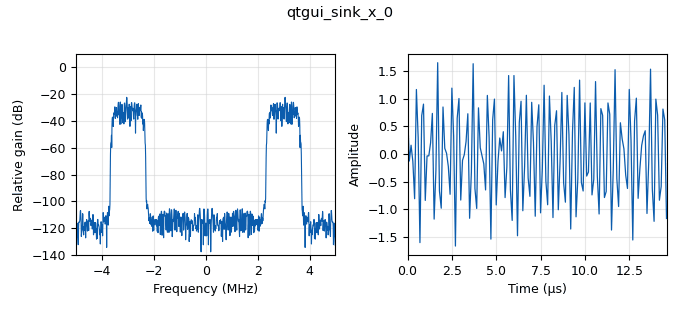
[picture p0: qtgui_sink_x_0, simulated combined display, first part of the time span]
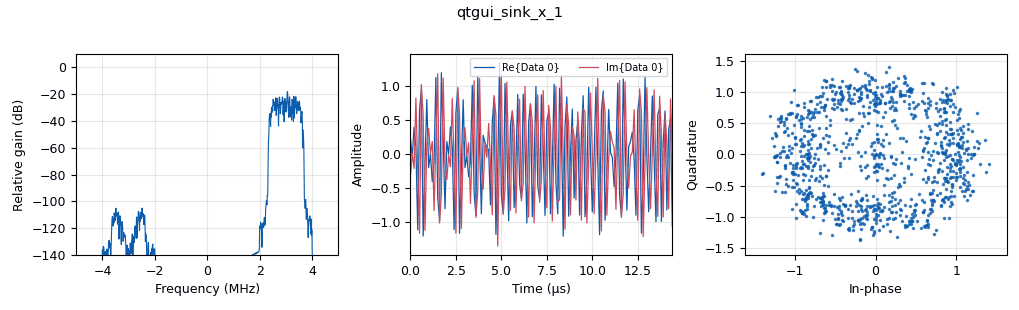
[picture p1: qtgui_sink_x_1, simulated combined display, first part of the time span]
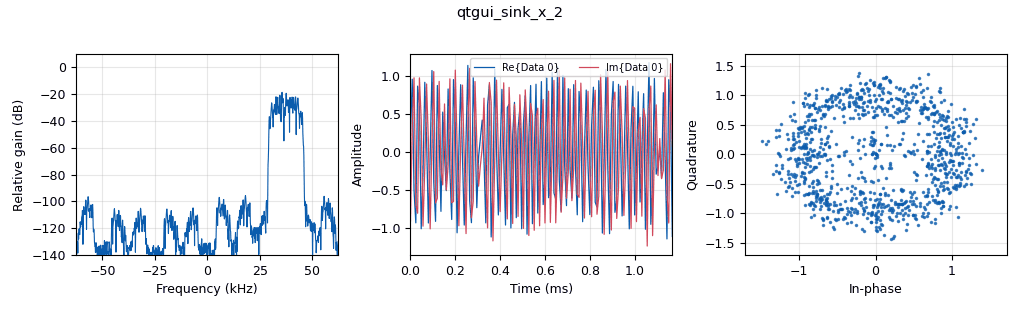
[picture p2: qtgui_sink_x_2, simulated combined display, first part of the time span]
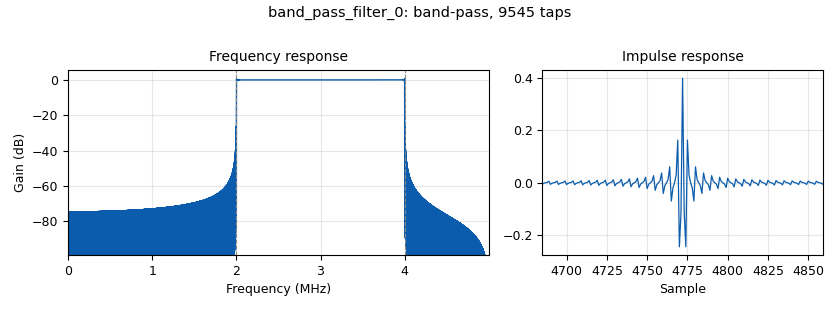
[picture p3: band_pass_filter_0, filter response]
<?xml version='1.0' encoding='utf-8'?>
<?grc format='1' created='3.7.12'?>
<flow_graph>
<block>
<key>options</key>
<param><key>id</key><value>top_block</value></param>
<param><key>generate_options</key><value>qt_gui</value></param>
</block>
<block>
<key>variable</key>
<param><key>id</key><value>samp_rate</value></param>
<param><key>value</key><value>int(125E3)</value></param>
</block>
<block>
<key>variable_constellation</key>
<param><key>id</key><value>variable_constellation_0</value></param>
<param><key>type</key><value>qpsk</value></param>
<param><key>precision</key><value>8</value></param>
</block>
<block>
<key>analog_noise_source_x</key>
<param><key>id</key><value>analog_noise_source_x_0</value></param>
<param><key>amp</key><value>0</value></param>
<param><key>noise_type</key><value>analog.GR_GAUSSIAN</value></param>
<param><key>type</key><value>complex</value></param>
<param><key>seed</key><value>0</value></param>
</block>
<block>
<key>analog_random_source_x</key>
<param><key>id</key><value>analog_random_source_x_0</value></param>
<param><key>max</key><value>256</value></param>
<param><key>min</key><value>0</value></param>
<param><key>num_samps</key><value>1000</value></param>
<param><key>type</key><value>byte</value></param>
<param><key>repeat</key><value>True</value></param>
</block>
<block>
<key>analog_sig_source_x</key>
<param><key>id</key><value>analog_sig_source_x_0</value></param>
<param><key>amp</key><value>1</value></param>
<param><key>freq</key><value>3E6</value></param>
<param><key>offset</key><value>0</value></param>
<param><key>type</key><value>complex</value></param>
<param><key>samp_rate</key><value>10E6</value></param>
<param><key>waveform</key><value>analog.GR_COS_WAVE</value></param>
</block>
<block>
<key>band_pass_filter</key>
<param><key>id</key><value>band_pass_filter_0</value></param>
<param><key>decim</key><value>1</value></param>
<param><key>type</key><value>fir_filter_ccf</value></param>
<param><key>gain</key><value>1</value></param>
<param><key>high_cutoff_freq</key><value>4E6</value></param>
<param><key>low_cutoff_freq</key><value>2E6</value></param>
<param><key>samp_rate</key><value>10E6</value></param>
<param><key>width</key><value>1E3</value></param>
<param><key>win</key><value>firdes.WIN_RECTANGULAR</value></param>
</block>
<block>
<key>blocks_add_xx</key>
<param><key>id</key><value>blocks_add_xx_0</value></param>
<param><key>type</key><value>complex</value></param>
</block>
<block>
<key>blocks_complex_to_real</key>
<param><key>id</key><value>blocks_complex_to_real_0</value></param>
</block>
<block>
<key>blocks_file_sink</key>
<param><key>id</key><value>blocks_file_sink_0</value></param>
<param><key>file</key><value>/home/wsrg/verilog/research-ayush/matlab/MU_Detection/single_file.dat</value></param>
<param><key>type</key><value>float</value></param>
</block>
<block>
<key>blocks_head</key>
<param><key>id</key><value>blocks_head_0</value></param>
<param><key>num_items</key><value>int(1E6)</value></param>
<param><key>type</key><value>float</value></param>
</block>
<block>
<key>blocks_multiply_xx</key>
<param><key>id</key><value>blocks_multiply_xx_0</value></param>
<param><key>type</key><value>complex</value></param>
</block>
<block>
<key>blocks_skiphead</key>
<param><key>id</key><value>blocks_skiphead_0</value></param>
<param><key>num_items</key><value>1024</value></param>
<param><key>type</key><value>float</value></param>
</block>
<block>
<key>blocks_throttle</key>
<param><key>id</key><value>blocks_throttle_0</value></param>
<param><key>samples_per_second</key><value>samp_rate</value></param>
<param><key>type</key><value>byte</value></param>
</block>
<block>
<key>channels_fading_model</key>
<param><key>id</key><value>channels_fading_model_0</value></param>
<param><key>LOS</key><value>False</value></param>
<param><key>fDTs</key><value>10.0/samp_rate</value></param>
<param><key>N</key><value>8</value></param>
<param><key>seed</key><value>0</value></param>
</block>
<block>
<key>digital_constellation_modulator</key>
<param><key>id</key><value>digital_constellation_modulator_0</value></param>
<param><key>constellation</key><value>variable_constellation_0</value></param>
<param><key>differential</key><value>False</value></param>
<param><key>excess_bw</key><value>0.35</value></param>
<param><key>samples_per_symbol</key><value>10</value></param>
</block>
<block>
<key>qtgui_sink_x</key>
<param><key>id</key><value>qtgui_sink_x_0</value></param>
<param><key>bw</key><value>10E6</value></param>
<param><key>fc</key><value>0</value></param>
<param><key>freqchangevar</key><value>None</value></param>
<param><key>fftsize</key><value>1024</value></param>
<param><key>showports</key><value>True</value></param>
<param><key>type</key><value>float</value></param>
<param><key>wintype</key><value>firdes.WIN_BLACKMAN_hARRIS</value></param>
</block>
<block>
<key>qtgui_sink_x</key>
<param><key>id</key><value>qtgui_sink_x_1</value></param>
<param><key>bw</key><value>10e6</value></param>
<param><key>fc</key><value>0</value></param>
<param><key>freqchangevar</key><value>None</value></param>
<param><key>fftsize</key><value>1024</value></param>
<param><key>showports</key><value>True</value></param>
<param><key>type</key><value>complex</value></param>
<param><key>wintype</key><value>firdes.WIN_BLACKMAN_hARRIS</value></param>
</block>
<block>
<key>qtgui_sink_x</key>
<param><key>id</key><value>qtgui_sink_x_2</value></param>
<param><key>bw</key><value>samp_rate</value></param>
<param><key>fc</key><value>0</value></param>
<param><key>freqchangevar</key><value>None</value></param>
<param><key>fftsize</key><value>1024</value></param>
<param><key>showports</key><value>True</value></param>
<param><key>type</key><value>complex</value></param>
<param><key>wintype</key><value>firdes.WIN_BLACKMAN_hARRIS</value></param>
</block>
<block>
<key>root_raised_cosine_filter</key>
<param><key>id</key><value>root_raised_cosine_filter_0</value></param>
<param><key>alpha</key><value>0.35</value></param>
<param><key>decim</key><value>1</value></param>
<param><key>type</key><value>fir_filter_ccf</value></param>
<param><key>gain</key><value>1</value></param>
<param><key>ntaps</key><value>11*2</value></param>
<param><key>samp_rate</key><value>1</value></param>
<param><key>sym_rate</key><value>10</value></param>
</block>
<connection><source_block_id>analog_noise_source_x_0</source_block_id><sink_block_id>blocks_add_xx_0</sink_block_id><source_key>0</source_key><sink_key>1</sink_key></connection>
<connection><source_block_id>analog_random_source_x_0</source_block_id><sink_block_id>blocks_throttle_0</sink_block_id><source_key>0</source_key><sink_key>0</sink_key></connection>
<connection><source_block_id>analog_sig_source_x_0</source_block_id><sink_block_id>blocks_multiply_xx_0</sink_block_id><source_key>0</source_key><sink_key>0</sink_key></connection>
<connection><source_block_id>band_pass_filter_0</source_block_id><sink_block_id>channels_fading_model_0</sink_block_id><source_key>0</source_key><sink_key>0</sink_key></connection>
<connection><source_block_id>band_pass_filter_0</source_block_id><sink_block_id>qtgui_sink_x_1</sink_block_id><source_key>0</source_key><sink_key>0</sink_key></connection>
<connection><source_block_id>blocks_add_xx_0</source_block_id><sink_block_id>root_raised_cosine_filter_0</sink_block_id><source_key>0</source_key><sink_key>0</sink_key></connection>
<connection><source_block_id>blocks_complex_to_real_0</source_block_id><sink_block_id>blocks_skiphead_0</sink_block_id><source_key>0</source_key><sink_key>0</sink_key></connection>
<connection><source_block_id>blocks_complex_to_real_0</source_block_id><sink_block_id>qtgui_sink_x_0</sink_block_id><source_key>0</source_key><sink_key>0</sink_key></connection>
<connection><source_block_id>blocks_head_0</source_block_id><sink_block_id>blocks_file_sink_0</sink_block_id><source_key>0</source_key><sink_key>0</sink_key></connection>
<connection><source_block_id>blocks_multiply_xx_0</source_block_id><sink_block_id>band_pass_filter_0</sink_block_id><source_key>0</source_key><sink_key>0</sink_key></connection>
<connection><source_block_id>blocks_multiply_xx_0</source_block_id><sink_block_id>qtgui_sink_x_2</sink_block_id><source_key>0</source_key><sink_key>0</sink_key></connection>
<connection><source_block_id>blocks_skiphead_0</source_block_id><sink_block_id>blocks_head_0</sink_block_id><source_key>0</source_key><sink_key>0</sink_key></connection>
<connection><source_block_id>blocks_throttle_0</source_block_id><sink_block_id>digital_constellation_modulator_0</sink_block_id><source_key>0</source_key><sink_key>0</sink_key></connection>
<connection><source_block_id>channels_fading_model_0</source_block_id><sink_block_id>blocks_add_xx_0</sink_block_id><source_key>0</source_key><sink_key>0</sink_key></connection>
<connection><source_block_id>digital_constellation_modulator_0</source_block_id><sink_block_id>blocks_multiply_xx_0</sink_block_id><source_key>0</source_key><sink_key>1</sink_key></connection>
<connection><source_block_id>root_raised_cosine_filter_0</source_block_id><sink_block_id>blocks_complex_to_real_0</sink_block_id><source_key>0</source_key><sink_key>0</sink_key></connection>
</flow_graph>
